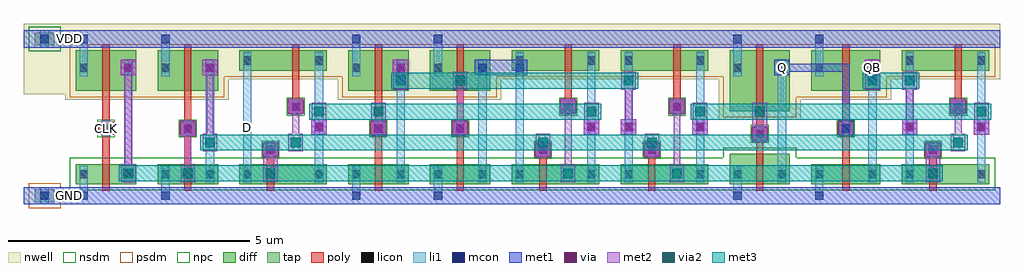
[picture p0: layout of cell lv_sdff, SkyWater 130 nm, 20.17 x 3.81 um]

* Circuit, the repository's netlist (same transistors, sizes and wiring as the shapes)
* NGSPICE file created from lv_sdff.ext - technology: sky130A

.subckt tg A B GN GP VDD GND w_0_481# VSUBS
X0 B GN A VSUBS sky130_fd_pr__nfet_01v8 ad=0.4578 pd=3.02 as=0.2394 ps=1.98 w=0.42 l=0.15
X1 B GP A w_0_481# sky130_fd_pr__pfet_01v8 ad=0.2394 pd=1.98 as=0.4578 ps=3.02 w=0.42 l=0.15
.ends

.subckt inv_s1 A Y VDD GND w_0_313# VSUBS
X0 Y A GND VSUBS sky130_fd_pr__nfet_01v8 ad=0.3465 pd=2.36 as=0.3465 ps=2.36 w=0.63 l=0.15
X1 Y A VDD w_0_313# sky130_fd_pr__pfet_01v8 ad=0.693 pd=3.62 as=0.693 ps=3.62 w=1.26 l=0.15
.ends

.subckt inv_ff A Y VDD GND w_0_397# VSUBS
X0 Y A GND VSUBS sky130_fd_pr__nfet_01v8 ad=0.231 pd=1.94 as=0.231 ps=1.94 w=0.42 l=0.15
X1 Y A VDD w_0_397# sky130_fd_pr__pfet_01v8 ad=0.462 pd=2.78 as=0.462 ps=2.78 w=0.84 l=0.15
.ends

.subckt inv_s2 A Y VDD GND w_0_397# VSUBS
X0 Y A GND VSUBS sky130_fd_pr__nfet_01v8 ad=0.2688 pd=2.12 as=0.2688 ps=2.12 w=0.42 l=0.15
X1 Y A VDD w_0_397# sky130_fd_pr__pfet_01v8 ad=0.5376 pd=2.96 as=0.5376 ps=2.96 w=0.84 l=0.15
.ends

.subckt sdff D CLK Q QB VDD GND t4/w_0_481# VSUBS
Xt1 D t2/B ci/Y t4/GP VDD GND t4/w_0_481# VSUBS tg
Xs1 t4/B Q VDD GND t4/w_0_481# VSUBS inv_s1
Xt2 t2/A t2/B t4/GP ci/Y VDD GND t4/w_0_481# VSUBS tg
Xci CLK ci/Y VDD GND t4/w_0_481# VSUBS inv_ff
Xs2 Q QB VDD GND t4/w_0_481# VSUBS inv_s2
Xt3 t3/A t4/B t4/GP ci/Y VDD GND t4/w_0_481# VSUBS tg
Xt4 QB t4/B ci/Y t4/GP VDD GND t4/w_0_481# VSUBS tg
Xm1 t2/B t3/A VDD GND t4/w_0_481# VSUBS inv_ff
Xm2 t3/A t2/A VDD GND t4/w_0_481# VSUBS inv_ff
Xci2 ci/Y t4/GP VDD GND t4/w_0_481# VSUBS inv_ff
.ends

.subckt lv_sdff D CLK Q QB VDD GND
Xu D CLK Q QB VDD GND VDD GND sdff
.ends

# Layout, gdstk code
import gdstk
lib = gdstk.Library(unit=1e-6, precision=1e-09)
def R(c, l, rs):  # rectangles x0, y0, x1, y1
    for r in rs: c.add(gdstk.rectangle(r[:2], r[2:], *l))
def A(c, l, x, y, w, h, nx, ny, dx, dy):  # array of equal rectangles
    R(c, l, [(x+i*dx, y+j*dy, x+i*dx+w, y+j*dy+h) for i in range(nx) for j in range(ny)])
nwell = (64, 20)
diff = (65, 20)
tap = (65, 44)
poly = (66, 20)
licon = (66, 44)
li1 = (67, 20)
mcon = (67, 44)
met1 = (68, 20)
via = (68, 44)
met2 = (69, 20)
via2 = (69, 44)
met3 = (70, 20)
nsdm = (93, 44)
psdm = (94, 20)
npc = (95, 20)

inv_ff = lib.new_cell('inv_ff')
R(inv_ff, nwell, [(0,1.985,1.69,3.55)])
R(inv_ff, diff, [(0.22,0.235,1.47,0.655), (0.22,2.165,1.47,3.005)])
R(inv_ff, poly, [(0.77,0.105,0.92,1.255), (0.68,1.255,1.01,1.525), (0.77,1.525,0.92,3.135)])
R(inv_ff, licon, [(0.3,0.36,0.47,0.53), (1.22,0.36,1.39,0.53), (0.76,1.305,0.93,1.475), (0.3,2.56,0.47,2.73), (1.22,2.56,1.39,2.73)])
R(inv_ff, li1, [(0.3,-0.085,0.47,0.62), (1.22,0.27,1.39,2.82), (0.76,1.225,0.93,1.555), (0.3,2.47,0.47,3.325)])
R(inv_ff, mcon, [(0.3,-0.085,0.47,0.085), (1.22,2.56,1.39,2.73), (0.3,3.155,0.47,3.325)])
R(inv_ff, met1, [(0,-0.18,1.69,0.18), (1.145,2.485,1.465,2.805), (0,3.06,1.69,3.42)])
R(inv_ff, nsdm, [(0.095,0.11,1.595,0.78)])
R(inv_ff, psdm, [(0.095,2.04,1.595,3.13)])
R(inv_ff, npc, [(0.66,1.205,1.03,1.575)])
inv_ff.add(gdstk.Label('A', (0.845,1.39), layer=67, texttype=5))
inv_ff.add(gdstk.Label('Y', (1.305,2.645), layer=68, texttype=5))
inv_ff.add(gdstk.Label('VDD', (0.1,3.24), layer=68, texttype=5))
inv_ff.add(gdstk.Label('GND', (0.1,0), layer=68, texttype=5))

c_tg = lib.new_cell('tg')
R(c_tg, nwell, [(0,2.405,2.25,3.55)])
R(c_tg, diff, [(0.22,0.235,2.03,0.655), (0.22,2.585,2.03,3.005)])
R(c_tg, poly, [(0.79,0.105,0.94,0.815), (0.7,0.815,1.03,1.085), (0.79,1.085,0.94,1.09), (1.31,1.7,1.46,1.705), (1.22,1.705,1.55,1.975), (1.31,1.975,1.46,3.135)])
R(c_tg, licon, [(0.3,0.36,0.47,0.53), (1.78,0.36,1.95,0.53), (0.78,0.865,0.95,1.035), (1.3,1.755,1.47,1.925), (0.3,2.71,0.47,2.88), (1.78,2.71,1.95,2.88)])
R(c_tg, li1, [(0.3,0.27,0.47,2.97), (1.78,0.27,1.95,2.97), (0.78,0.785,0.95,1.115), (1.3,1.675,1.47,2.005)])
R(c_tg, met1, [(0,-0.18,2.25,0.18), (0,3.06,2.25,3.42)])
R(c_tg, nsdm, [(0.095,0.11,2.155,0.78)])
R(c_tg, psdm, [(0.095,2.46,2.155,3.13)])
R(c_tg, npc, [(0.68,0.765,1.05,1.135), (1.2,1.655,1.57,2.025)])
c_tg.add(gdstk.Label('A', (0.385,1.42), layer=67, texttype=5))
c_tg.add(gdstk.Label('B', (1.865,1.42), layer=67, texttype=5))
c_tg.add(gdstk.Label('GN', (0.865,0.95), layer=67, texttype=5))
c_tg.add(gdstk.Label('GP', (1.385,1.84), layer=67, texttype=5))
c_tg.add(gdstk.Label('VDD', (0.1,3.24), layer=68, texttype=5))
c_tg.add(gdstk.Label('GND', (0.1,0), layer=68, texttype=5))

inv_s1 = lib.new_cell('inv_s1')
R(inv_s1, nwell, [(0,1.565,1.69,3.55)])
R(inv_s1, diff, [(0.22,0.235,1.47,0.865), (0.22,1.745,1.47,3.005)])
R(inv_s1, poly, [(0.77,0.105,0.92,1.145), (0.68,1.145,1.01,1.415), (0.77,1.415,0.92,3.135)])
R(inv_s1, licon, [(0.3,0.36,0.47,0.53), (1.22,0.36,1.39,0.53), (0.76,1.195,0.93,1.365), (0.3,2.56,0.47,2.73), (1.22,2.56,1.39,2.73)])
R(inv_s1, li1, [(0.3,-0.085,0.47,0.62), (1.22,0.27,1.39,2.82), (0.76,1.115,0.93,1.445), (0.3,2.47,0.47,3.325)])
R(inv_s1, mcon, [(0.3,-0.085,0.47,0.085), (1.22,2.56,1.39,2.73), (0.3,3.155,0.47,3.325)])
R(inv_s1, met1, [(0,-0.18,1.69,0.18), (1.145,2.485,1.465,2.805), (0,3.06,1.69,3.42)])
R(inv_s1, nsdm, [(0.095,0.11,1.595,0.99)])
R(inv_s1, psdm, [(0.095,1.62,1.595,3.13)])
R(inv_s1, npc, [(0.66,1.095,1.03,1.465)])
inv_s1.add(gdstk.Label('A', (0.845,1.28), layer=67, texttype=5))
inv_s1.add(gdstk.Label('Y', (1.305,2.645), layer=68, texttype=5))
inv_s1.add(gdstk.Label('VDD', (0.1,3.24), layer=68, texttype=5))
inv_s1.add(gdstk.Label('GND', (0.1,0), layer=68, texttype=5))

inv_s2 = lib.new_cell('inv_s2')
R(inv_s2, nwell, [(0,1.985,1.87,3.55)])
R(inv_s2, diff, [(0.22,0.235,1.65,0.655), (0.22,2.165,1.65,3.005)])
R(inv_s2, poly, [(0.86,0.105,1.01,1.255), (0.77,1.255,1.1,1.525), (0.86,1.525,1.01,3.135)])
R(inv_s2, licon, [(0.3,0.36,0.47,0.53), (1.4,0.36,1.57,0.53), (0.85,1.305,1.02,1.475), (0.3,2.56,0.47,2.73), (1.4,2.56,1.57,2.73)])
R(inv_s2, li1, [(0.3,-0.085,0.47,0.62), (1.4,0.27,1.57,2.82), (0.85,1.225,1.02,1.555), (0.3,2.47,0.47,3.325)])
R(inv_s2, mcon, [(0.3,-0.085,0.47,0.085), (1.4,2.56,1.57,2.73), (0.3,3.155,0.47,3.325)])
R(inv_s2, met1, [(0,-0.18,1.87,0.18), (1.325,2.485,1.645,2.805), (0,3.06,1.87,3.42)])
R(inv_s2, nsdm, [(0.095,0.11,1.775,0.78)])
R(inv_s2, psdm, [(0.095,2.04,1.775,3.13)])
R(inv_s2, npc, [(0.75,1.205,1.12,1.575)])
inv_s2.add(gdstk.Label('A', (0.935,1.39), layer=67, texttype=5))
inv_s2.add(gdstk.Label('Y', (1.485,2.645), layer=68, texttype=5))
inv_s2.add(gdstk.Label('VDD', (0.1,3.24), layer=68, texttype=5))
inv_s2.add(gdstk.Label('GND', (0.1,0), layer=68, texttype=5))

sdff = lib.new_cell('sdff')
R(sdff, li1, [(4.16,0.865,4.33,1.035), (9.79,0.865,9.96,1.035), (12.04,0.865,12.21,1.035), (17.85,0.865,18.02,1.035), (14.27,1.195,14.44,1.365), (0.76,1.305,0.93,1.475), (2.45,1.305,2.62,1.475), (6.39,1.305,6.56,1.475), (8.08,1.305,8.25,1.475), (16.05,1.305,16.22,1.475), (3.68,1.335,3.85,1.505), (5.16,1.335,5.33,1.505), (10.79,1.335,10.96,1.505), (11.56,1.335,11.73,1.505), (13.04,1.335,13.21,1.505), (17.37,1.335,17.54,1.505), (18.85,1.335,19.02,1.505), (4.68,1.755,4.85,1.925), (10.31,1.755,10.48,1.925), (12.56,1.755,12.73,1.925), (18.37,1.755,18.54,1.925), (9.31,2.56,9.48,2.73)])
R(sdff, mcon, [(4.16,0.865,4.33,1.035), (9.79,0.865,9.96,1.035), (12.04,0.865,12.21,1.035), (17.85,0.865,18.02,1.035), (14.27,1.195,14.44,1.365), (2.45,1.305,2.62,1.475), (6.39,1.305,6.56,1.475), (8.08,1.305,8.25,1.475), (16.05,1.305,16.22,1.475), (5.16,1.335,5.33,1.505), (10.79,1.335,10.96,1.505), (11.56,1.335,11.73,1.505), (13.04,1.335,13.21,1.505), (17.37,1.335,17.54,1.505), (18.85,1.335,19.02,1.505), (4.68,1.755,4.85,1.925), (10.31,1.755,10.48,1.925), (12.56,1.755,12.73,1.925), (18.37,1.755,18.54,1.925), (9.31,2.56,9.48,2.73)])
R(sdff, met1, [(0.015,-0.085,0.185,0.085), (4.085,0.79,4.405,1.11), (9.715,0.79,10.035,1.11), (11.965,0.79,12.285,1.11), (17.775,0.79,18.095,1.11), (14.195,1.12,14.515,1.44), (2.375,1.23,2.695,1.55), (6.315,1.23,6.635,1.55), (8.005,1.23,8.325,1.55), (15.975,1.23,16.295,1.55), (5.085,1.26,5.405,1.58), (10.715,1.26,11.035,1.58), (11.485,1.26,11.805,1.58), (12.965,1.26,13.285,1.58), (17.295,1.26,17.615,1.58), (18.775,1.26,19.095,1.58), (16.055,1.55,16.215,2.565), (4.605,1.68,4.925,2), (10.235,1.68,10.555,2), (12.485,1.68,12.805,2), (18.295,1.68,18.615,2), (1.145,2.485,1.465,2.805), (2.835,2.485,3.155,2.805), (6.775,2.485,7.095,2.805), (8.465,2.485,9.555,2.805), (16.525,2.485,16.845,2.805), (14.73,2.56,14.9,2.565), (14.655,2.565,16.215,2.725), (14.73,2.725,14.9,2.73), (0.015,3.155,0.185,3.325)])
R(sdff, via, [(4.17,0.875,4.32,1.025), (9.8,0.875,9.95,1.025), (12.05,0.875,12.2,1.025), (17.86,0.875,18.01,1.025), (14.28,1.205,14.43,1.355), (2.46,1.315,2.61,1.465), (6.4,1.315,6.55,1.465), (8.09,1.315,8.24,1.465), (5.17,1.345,5.32,1.495), (10.8,1.345,10.95,1.495), (11.57,1.345,11.72,1.495), (13.05,1.345,13.2,1.495), (17.38,1.345,17.53,1.495), (18.86,1.345,19.01,1.495), (4.69,1.765,4.84,1.915), (10.32,1.765,10.47,1.915), (12.57,1.765,12.72,1.915), (18.38,1.765,18.53,1.915), (1.23,2.57,1.38,2.72), (2.92,2.57,3.07,2.72), (6.86,2.57,7.01,2.72), (16.61,2.57,16.76,2.72)])
R(sdff, met2, [(1.155,0.275,1.455,0.645), (2.385,0.275,2.685,0.645), (4.095,0.275,4.395,0.79), (10.245,0.275,10.545,0.645), (12.495,0.275,12.795,0.645), (17.785,0.275,18.085,0.79), (1.235,0.645,1.375,2.485), (2.465,0.645,2.605,1.23), (10.325,0.645,10.465,1.68), (12.575,0.645,12.715,1.68), (4.085,0.79,4.405,1.11), (9.715,0.79,10.035,1.11), (11.965,0.79,12.285,1.11), (17.775,0.79,18.095,1.11), (2.845,0.915,3.145,1.285), (4.615,0.915,4.915,1.285), (18.305,0.915,18.605,1.285), (9.725,1.11,10.025,1.285), (11.975,1.11,12.275,1.285), (14.195,1.12,14.515,1.44), (2.375,1.23,2.695,1.55), (6.315,1.23,6.635,1.55), (8.005,1.23,8.325,1.55), (5.085,1.26,5.405,1.58), (10.715,1.26,11.035,1.58), (11.485,1.26,11.805,1.58), (12.965,1.26,13.285,1.58), (17.295,1.26,17.615,1.58), (18.775,1.26,19.095,1.58), (2.925,1.285,3.065,2.485), (4.695,1.285,4.835,1.68), (18.385,1.285,18.525,1.68), (14.205,1.44,14.505,1.925), (6.325,1.55,6.625,1.925), (8.095,1.55,8.235,2.195), (5.095,1.58,5.395,1.925), (10.725,1.58,11.025,1.925), (11.575,1.58,11.715,2.195), (12.975,1.58,13.275,1.925), (17.385,1.58,17.525,2.195), (18.785,1.58,19.085,1.925), (4.605,1.68,4.925,2), (10.235,1.68,10.555,2), (12.485,1.68,12.805,2), (18.295,1.68,18.615,2), (6.785,2.195,7.085,2.485), (8.015,2.195,8.315,2.565), (11.495,2.195,11.795,2.565), (16.535,2.195,16.835,2.485), (17.305,2.195,17.605,2.565), (1.145,2.485,1.465,2.805), (2.835,2.485,3.155,2.805), (6.775,2.485,7.095,2.805), (16.525,2.485,16.845,2.805)])
R(sdff, via2, [(1.205,0.36,1.405,0.56), (2.435,0.36,2.635,0.56), (4.145,0.36,4.345,0.56), (10.295,0.36,10.495,0.56), (12.545,0.36,12.745,0.56), (17.835,0.36,18.035,0.56), (2.895,1,3.095,1.2), (4.665,1,4.865,1.2), (9.775,1,9.975,1.2), (12.025,1,12.225,1.2), (18.355,1,18.555,1.2), (5.145,1.64,5.345,1.84), (6.375,1.64,6.575,1.84), (10.775,1.64,10.975,1.84), (13.025,1.64,13.225,1.84), (14.255,1.64,14.455,1.84), (18.835,1.64,19.035,1.84), (6.835,2.28,7.035,2.48), (8.065,2.28,8.265,2.48), (11.545,2.28,11.745,2.48), (16.585,2.28,16.785,2.48), (17.355,2.28,17.555,2.48)])
R(sdff, met3, [(1.105,0.295,18.135,0.625), (2.795,0.935,18.655,1.265), (5.045,1.575,11.075,1.905), (12.925,1.575,19.135,1.905), (6.735,2.215,11.845,2.545), (16.485,2.215,17.655,2.545)])
A(sdff, nsdm, 5.535, 0.11, 0.19, 0.67, 3, 1, 1.69, 0)
R(sdff, nsdm, [(1.595,0.11,1.785,0.78), (3.285,0.11,3.475,0.78), (11.165,0.11,11.355,0.78), (13.415,0.11,13.605,0.78), (15.105,0.11,15.295,0.78), (16.975,0.11,17.165,0.78)])
A(sdff, psdm, 8.915, 2.46, 0.19, 0.67, 3, 1, 2.25, 0)
R(sdff, psdm, [(1.595,2.04,1.785,3.13), (7.225,2.04,7.415,3.13), (15.105,2.04,15.295,3.13), (3.285,2.46,3.475,3.13), (5.535,2.46,5.725,3.13), (16.975,2.46,17.165,3.13)])
sdff.add(gdstk.Reference(inv_ff, (0,0)))
sdff.add(gdstk.Reference(inv_ff, (1.69,0)))
sdff.add(gdstk.Reference(c_tg, (3.38,0)))
sdff.add(gdstk.Reference(inv_ff, (5.63,0)))
sdff.add(gdstk.Reference(inv_ff, (7.32,0)))
sdff.add(gdstk.Reference(c_tg, (9.01,0)))
sdff.add(gdstk.Reference(c_tg, (11.26,0)))
sdff.add(gdstk.Reference(inv_s1, (13.51,0)))
sdff.add(gdstk.Reference(inv_s2, (15.2,0)))
sdff.add(gdstk.Reference(c_tg, (17.07,0)))
sdff.add(gdstk.Label('D', (3.765,1.42), layer=67, texttype=5))
sdff.add(gdstk.Label('CLK', (0.845,1.39), layer=67, texttype=5))
sdff.add(gdstk.Label('Q', (14.815,2.645), layer=68, texttype=5))
sdff.add(gdstk.Label('QB', (16.685,2.645), layer=69, texttype=5))
sdff.add(gdstk.Label('VDD', (0.1,3.24), layer=68, texttype=5))
sdff.add(gdstk.Label('GND', (0.1,0), layer=68, texttype=5))

tap_ = lib.new_cell('tap')
R(tap_, nwell, [(0,2.1,0.85,3.55)])
R(tap_, tap, [(0.22,-0.13,0.63,0.13), (0.22,3.11,0.63,3.37)])
R(tap_, licon, [(0.34,-0.085,0.51,0.085), (0.34,3.155,0.51,3.325)])
R(tap_, li1, [(0.34,-0.175,0.51,0.175), (0.34,3.065,0.51,3.415)])
R(tap_, mcon, [(0.34,-0.085,0.51,0.085), (0.34,3.155,0.51,3.325)])
R(tap_, met1, [(0,-0.18,0.85,0.18), (0,3.06,0.85,3.42)])
R(tap_, nsdm, [(0.095,2.985,0.755,3.495)])
R(tap_, psdm, [(0.095,-0.255,0.755,0.255)])
tap_.add(gdstk.Label('VDD', (0.1,3.24), layer=68, texttype=5))
tap_.add(gdstk.Label('GND', (0.1,0), layer=68, texttype=5))

lv_sdff = lib.new_cell('lv_sdff')
R(lv_sdff, li1, [(1.61,1.305,1.78,1.475), (4.53,1.335,4.7,1.505)])
R(lv_sdff, met1, [(0.865,-0.085,1.035,0.085), (15.58,2.56,15.75,2.73), (17.45,2.56,17.62,2.73), (0.865,3.155,1.035,3.325)])
lv_sdff.add(gdstk.Reference(sdff, (0.85,0)))
lv_sdff.add(gdstk.Reference(tap_, (0,0)))
lv_sdff.add(gdstk.Label('D', (4.615,1.42), layer=67, texttype=5))
lv_sdff.add(gdstk.Label('CLK', (1.695,1.39), layer=67, texttype=5))
lv_sdff.add(gdstk.Label('Q', (15.665,2.645), layer=68, texttype=5))
lv_sdff.add(gdstk.Label('QB', (17.535,2.645), layer=68, texttype=5))
lv_sdff.add(gdstk.Label('VDD', (0.95,3.24), layer=68, texttype=5))
lv_sdff.add(gdstk.Label('GND', (0.95,0), layer=68, texttype=5))

lib.write_gds('lv_sdff.gds')
